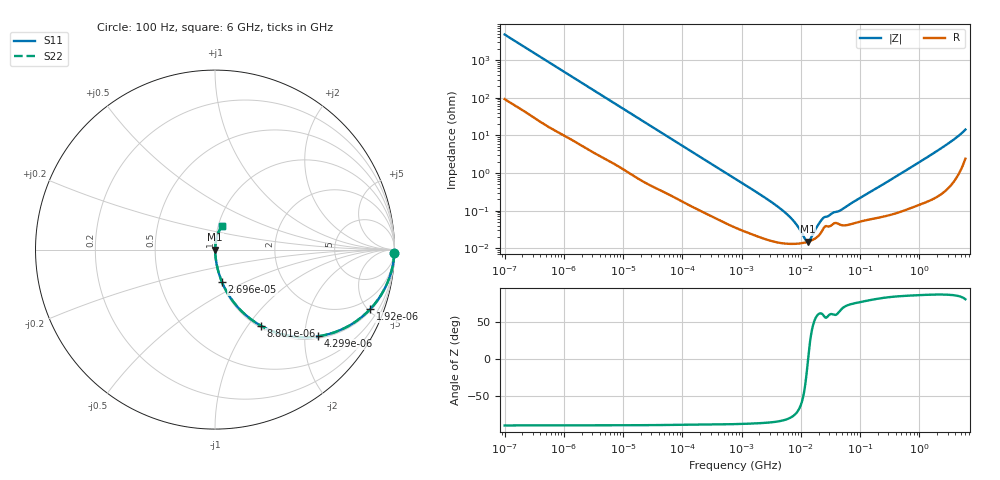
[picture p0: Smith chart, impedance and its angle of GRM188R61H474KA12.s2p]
!Murata Part Number: GRM188R61H474KA12
!These Parameters are Measured in Series Mode Connection
!Data Generated on Mar 30, 2021
!  o--ll--o
!Port1  Port2
!  o------o
!Operation Temp=25[degC], DC Bias Voltage=0[V]
!Freq. Start=100[Hz] Stop=6[GHz] 401[Steps]
# Hz S RI R 50
!Freq.(Hz) S11(Real) S11(Imag) S21(Real) S21(Imag) S12(Real) S12(Imag) S22(Real) S22(Imag)
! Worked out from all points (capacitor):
!   401 points, 100 Hz to 6 GHz, reference 50 ohm
!   read as one part in series: C = 332 nF near 109 Hz
!   lowest |Z| = 14.9 mohm at 13.01 MHz (marker M1)
!   series resonance near 13.27 MHz, so ESL is about 430 pH
!   S11 on the Smith chart (normalised r, x): 100 Hz: 3, -95; 1.92 kHz: 1.11, -5.15; 4.299 kHz: 1.05, -2.33; 8.801 kHz: 1.03, -1.15; 26.96 kHz: 1.01, -0.38; 6 GHz: 1.05, +0.28
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100  0.9992 -0.0209  0.000842 0.0209  0.000842 0.0209  0.9992 -0.0209
548  0.9854 -0.1107  0.0146 0.1107  0.0146 0.1107  0.9854 -0.1107
1920  0.8638 -0.3324  0.1362 0.3324  0.1362 0.3324  0.8638 -0.3324
2008  0.8534 -0.3431  0.1466 0.3431  0.1466 0.3431  0.8534 -0.3431
4299  0.5734 -0.4832  0.4266 0.4832  0.4266 0.4832  0.5734 -0.4832
8801  0.2537 -0.4229  0.7463 0.4229  0.7463 0.4229  0.2537 -0.4229
14402  0.1174 -0.3097  0.8826 0.3097  0.8826 0.3097  0.1174 -0.3097
26957  0.0395 -0.1823  0.9605 0.1823  0.9605 0.1823  0.0395 -0.1823
40335  0.0196 -0.1253  0.9804 0.1253  0.9804 0.1253  0.0196 -0.1253
129199  0.00307 -0.0408  0.9969 0.0408  0.9969 0.0408  0.00307 -0.0408
774597  0.000406 -0.00709  0.9996 0.00709  0.9996 0.00709  0.000406 -0.00709
5311619  0.000135 -0.000909  0.9999 0.000909  0.9999 0.000909  0.000135 -0.000909
7947587  0.000131 -0.000466  0.9999 0.000466  0.9999 0.000466  0.000131 -0.000466
1.189169e7  0.000143 -9.62e-05  0.9999 9.62e-05  0.9999 9.62e-05  0.000143 -9.62e-05
1.300572e7  0.000148 -1.74e-05  0.9999 1.74e-05  0.9999 1.74e-05  0.000148 -1.74e-05
1.555665e7  0.000165 0.000142  0.9998 -0.000142  0.9998 -0.000142  0.000165 0.000142
2.035112e7  0.000224 0.000401  0.9998 -0.000401  0.9998 -0.000401  0.000224 0.000401
2.434276e7  0.000345 0.000557  0.9997 -0.000557  0.9997 -0.000557  0.000345 0.000557
4.764863e7  0.000418 0.000951  0.9996 -0.000951  0.9996 -0.000951  0.000418 0.000951
3.124326e8  0.000796 0.00625  0.9992 -0.00625  0.9992 -0.00625  0.000796 0.00625
2.240541e9  0.00445 0.043  0.9955 -0.043  0.9955 -0.043  0.00445 0.043
6e9  0.0415 0.1312  0.9585 -0.1312  0.9585 -0.1312  0.0415 0.1312
